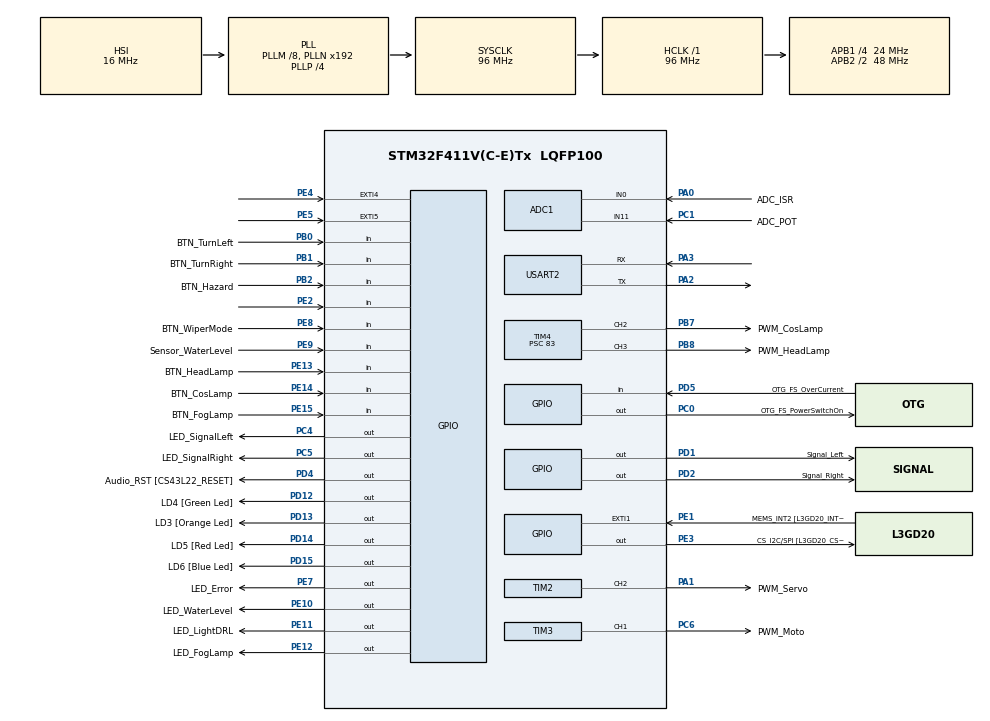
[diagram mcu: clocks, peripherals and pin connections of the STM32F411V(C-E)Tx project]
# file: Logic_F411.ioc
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ADC1.Channel-0\#ChannelRegularConversion=ADC_CHANNEL_0
ADC1.Channel-1\#ChannelRegularConversion=ADC_CHANNEL_11
ADC1.ClockPrescaler=ADC_CLOCK_SYNC_PCLK_DIV2
ADC1.ContinuousConvMode=ENABLE
ADC1.DMAContinuousRequests=ENABLE
ADC1.NbrOfConversion=2
ADC1.NbrOfConversionFlag=1
ADC1.Rank-0\#ChannelRegularConversion=1
ADC1.Rank-1\#ChannelRegularConversion=2
ADC1.SamplingTime-0\#ChannelRegularConversion=ADC_SAMPLETIME_3CYCLES
ADC1.SamplingTime-1\#ChannelRegularConversion=ADC_SAMPLETIME_3CYCLES
ADC1.ScanConvMode=ENABLE
ADC1.master=1
Dma.ADC1.0.Direction=DMA_PERIPH_TO_MEMORY
Dma.ADC1.0.FIFOMode=DMA_FIFOMODE_DISABLE
Dma.ADC1.0.Instance=DMA2_Stream0
Dma.ADC1.0.MemDataAlignment=DMA_MDATAALIGN_HALFWORD
Dma.ADC1.0.MemInc=DMA_MINC_ENABLE
Dma.ADC1.0.Mode=DMA_CIRCULAR
Dma.ADC1.0.PeriphDataAlignment=DMA_PDATAALIGN_HALFWORD
Dma.ADC1.0.PeriphInc=DMA_PINC_DISABLE
Dma.ADC1.0.Priority=DMA_PRIORITY_MEDIUM
Dma.Request0=ADC1
Mcu.Family=STM32F4
Mcu.Name=STM32F411V(C-E)Tx
Mcu.Package=LQFP100
NVIC.DMA2_Stream0_IRQn=true\:0\:0\:false\:false\:true\:false\:true\:true
NVIC.PriorityGroup=NVIC_PRIORITYGROUP_4
PA0-WKUP.GPIO_Label=ADC_ISR
PA0-WKUP.Signal=ADCx_IN0
PA1.GPIO_Label=PWM_Servo
PA1.Signal=S_TIM2_CH2
PA10.GPIO_Label=OTG_FS_ID
PA10.Signal=USB_OTG_FS_ID
PA11.GPIO_Label=OTG_FS_DM
PA11.Signal=USB_OTG_FS_DM
PA12.GPIO_Label=OTG_FS_DP
PA12.Signal=USB_OTG_FS_DP
PA13.GPIO_Label=SWDIO
PA13.Mode=Serial_Wire
PA13.Signal=SYS_JTMS-SWDIO
PA14.GPIO_Label=SWCLK
PA14.Mode=Serial_Wire
PA14.Signal=SYS_JTCK-SWCLK
PA2.Mode=Asynchronous
PA2.Signal=USART2_TX
PA3.Mode=Asynchronous
PA3.Signal=USART2_RX
PA4.GPIO_Label=I2S3_WS [CS43L22_LRCK]
PA4.GPIO_Mode=GPIO_MODE_AF_PP
PA4.GPIO_PuPd=GPIO_NOPULL
PA4.GPIO_Speed=GPIO_SPEED_FREQ_LOW
PA4.Signal=I2S3_WS
PA5.GPIO_Label=SPI1_SCK [L3GD20_SC/SPC]
PA5.Signal=SPI1_SCK
PA6.GPIO_Label=SPI1_MISO [L3GD20_AS0/SDO]
PA6.Signal=SPI1_MISO
PA7.GPIO_Label=SPI1_MOSI [L3GD20_SDA/SDI/SDO]
PA7.Signal=SPI1_MOSI
PA9.GPIO_Label=VBUS_FS
PA9.Signal=USB_OTG_FS_VBUS
PB0.GPIO_Label=BTN_TurnLeft
PB0.GPIO_PuPd=GPIO_PULLUP
PB0.Signal=GPIO_Input
PB1.GPIO_Label=BTN_TurnRight
PB1.GPIO_PuPd=GPIO_PULLUP
PB1.Signal=GPIO_Input
PB10.GPIO_Label=CLK_IN [MP45DT02_CLK]
PB10.Signal=I2S2_CK
PB12.Signal=I2S2_WS
PB2.GPIO_Label=BTN_Hazard
PB2.GPIO_PuPd=GPIO_PULLUP
PB2.Signal=GPIO_Input
PB3.GPIO_Label=SWO
PB3.Signal=SYS_JTDO-SWO
PB6.GPIO_Label=Audio_SCL [CS43L22_SCL]
PB6.GPIO_Mode=GPIO_MODE_AF_OD
PB6.GPIO_PuPd=GPIO_NOPULL
PB6.GPIO_Speed=GPIO_SPEED_FREQ_LOW
PB6.Signal=I2C1_SCL
PB7.GPIO_Label=PWM_CosLamp
PB7.Signal=S_TIM4_CH2
PB8.GPIO_Label=PWM_HeadLamp
PB8.Signal=S_TIM4_CH3
PB9.GPIO_Label=Audio_SDA [CS43L22_SDA]
PB9.GPIO_Mode=GPIO_MODE_AF_OD
PB9.GPIO_PuPd=GPIO_NOPULL
PB9.GPIO_Speed=GPIO_SPEED_FREQ_LOW
PB9.Signal=I2C1_SDA
PC0.GPIO_Label=OTG_FS_PowerSwitchOn
PC0.PinState=GPIO_PIN_SET
PC0.Signal=GPIO_Output
PC1.GPIO_Label=ADC_POT
PC1.Signal=ADCx_IN11
PC10.GPIO_Label=I2S3_SCK [CS43L22_SCLK]
PC10.GPIO_Mode=GPIO_MODE_AF_PP
PC10.GPIO_PuPd=GPIO_NOPULL
PC10.GPIO_Speed=GPIO_SPEED_FREQ_LOW
PC10.Signal=I2S3_CK
PC12.GPIO_Label=I2S3_SD [CS43L22_SDIN]
PC12.GPIO_Mode=GPIO_MODE_AF_PP
PC12.GPIO_PuPd=GPIO_NOPULL
PC12.GPIO_Speed=GPIO_SPEED_FREQ_LOW
PC12.Signal=I2S3_SD
PC14-OSC32_IN.GPIO_Label=PC14-OSC32_IN
PC14-OSC32_IN.Signal=RCC_OSC32_IN
PC15-OSC32_OUT.GPIO_Label=PC15-OSC32_OUT
PC15-OSC32_OUT.Signal=RCC_OSC32_OUT
PC3.GPIO_Label=PDM_OUT [MP45DT02_DOUT]
PC3.Signal=I2S2_SD
PC4.GPIO_Label=LED_SignalLeft
PC4.Signal=GPIO_Output
PC5.GPIO_Label=LED_SignalRight
PC5.Signal=GPIO_Output
PC6.GPIO_Label=PWM_Moto
PC6.Signal=S_TIM3_CH1
PC7.GPIO_Label=I2S3_MCK [CS43L22_MCLK]
PC7.GPIO_Mode=GPIO_MODE_AF_PP
PC7.GPIO_PuPd=GPIO_NOPULL
PC7.GPIO_Speed=GPIO_SPEED_FREQ_LOW
PC7.Signal=I2S3_MCK
PD1.GPIO_Label=Signal_Left
PD1.Signal=GPIO_Output
PD12.GPIO_Label=LD4 [Green Led]
PD12.GPIO_PuPd=GPIO_NOPULL
PD12.GPIO_Speed=GPIO_SPEED_FREQ_LOW
PD12.Signal=GPIO_Output
PD13.GPIO_Label=LD3 [Orange Led]
PD13.GPIO_PuPd=GPIO_NOPULL
PD13.GPIO_Speed=GPIO_SPEED_FREQ_LOW
PD13.Signal=GPIO_Output
PD14.GPIO_Label=LD5 [Red Led]
PD14.GPIO_PuPd=GPIO_NOPULL
PD14.GPIO_Speed=GPIO_SPEED_FREQ_LOW
PD14.Signal=GPIO_Output
PD15.GPIO_Label=LD6 [Blue Led]
PD15.GPIO_PuPd=GPIO_NOPULL
PD15.GPIO_Speed=GPIO_SPEED_FREQ_LOW
PD15.Signal=GPIO_Output
PD2.GPIO_Label=Signal_Right
PD2.Signal=GPIO_Output
PD4.GPIO_Label=Audio_RST [CS43L22_RESET]
PD4.Signal=GPIO_Output
PD5.GPIO_Label=OTG_FS_OverCurrent
PD5.Signal=GPIO_Input
PE1.GPIO_Label=MEMS_INT2 [L3GD20_INT2]
PE1.GPIO_ModeDefaultEXTI=GPIO_MODE_EVT_RISING
PE1.Signal=GPXTI1
PE10.GPIO_Label=LED_WaterLevel
PE10.Signal=GPIO_Output
PE11.GPIO_Label=LED_LightDRL
PE11.Signal=GPIO_Output
PE12.GPIO_Label=LED_FogLamp
PE12.Signal=GPIO_Output
PE13.GPIO_Label=BTN_HeadLamp
PE13.GPIO_PuPd=GPIO_PULLUP
PE13.Signal=GPIO_Input
PE14.GPIO_Label=BTN_CosLamp
PE14.GPIO_PuPd=GPIO_PULLUP
PE14.Signal=GPIO_Input
PE15.GPIO_Label=BTN_FogLamp
PE15.GPIO_PuPd=GPIO_PULLUP
PE15.Signal=GPIO_Input
PE2.Signal=GPIO_Input
PE3.GPIO_Label=CS_I2C/SPI [L3GD20_CS_I2C/SPI]
PE3.Signal=GPIO_Output
PE4.GPIO_ModeDefaultEXTI=GPIO_MODE_EVT_RISING
PE4.Signal=GPXTI4
PE5.GPIO_ModeDefaultEXTI=GPIO_MODE_EVT_RISING
PE5.Signal=GPXTI5
PE7.GPIO_Label=LED_Error
PE7.Signal=GPIO_Output
PE8.GPIO_Label=BTN_WiperMode
PE8.GPIO_PuPd=GPIO_PULLUP
PE8.Signal=GPIO_Input
PE9.GPIO_Label=Sensor_WaterLevel
PE9.Signal=GPIO_Input
PH0\ -\ OSC_IN.GPIO_Label=PH0-OSC_IN
PH0\ -\ OSC_IN.Mode=HSE-External-Oscillator
PH0\ -\ OSC_IN.Signal=RCC_OSC_IN
PH1\ -\ OSC_OUT.GPIO_Label=PH1-OSC_OUT
PH1\ -\ OSC_OUT.Mode=HSE-External-Oscillator
PH1\ -\ OSC_OUT.Signal=RCC_OSC_OUT
ProjectManager.HeapSize=0x200
ProjectManager.StackSize=0x400
ProjectManager.TargetToolchain=STM32CubeIDE
RCC.48MHZClocksFreq_Value=48000000
RCC.AHBFreq_Value=96000000
RCC.APB1CLKDivider=RCC_HCLK_DIV4
RCC.APB1Freq_Value=24000000
RCC.APB1TimFreq_Value=48000000
RCC.APB2CLKDivider=RCC_HCLK_DIV2
RCC.APB2Freq_Value=48000000
RCC.APB2TimFreq_Value=96000000
RCC.CortexFreq_Value=96000000
RCC.HCLKFreq_Value=96000000
RCC.HSE_VALUE=8000000
RCC.HSI_VALUE=16000000
RCC.LSE_VALUE=32768
RCC.PLLI2SM=5
RCC.PLLI2SN=200
RCC.PLLM=8
RCC.PLLP=RCC_PLLP_DIV4
RCC.PLLQ=8
RCC.SYSCLKFreq_VALUE=96000000
RCC.SYSCLKSource=RCC_SYSCLKSOURCE_PLLCLK
RCC.VCOOutputFreq_Value=384000000
SH.ADCx_IN0.0=ADC1_IN0,IN0
SH.ADCx_IN11.0=ADC1_IN11,IN11
SH.S_TIM2_CH2.0=TIM2_CH2,PWM Generation2 CH2
SH.S_TIM3_CH1.0=TIM3_CH1,PWM Generation1 CH1
SH.S_TIM4_CH2.0=TIM4_CH2,PWM Generation2 CH2
SH.S_TIM4_CH3.0=TIM4_CH3,PWM Generation3 CH3
TIM2.Channel-PWM\ Generation2\ CH2=TIM_CHANNEL_2
TIM2.Period=19999
TIM2.Prescaler=47
TIM3.Channel-PWM\ Generation1\ CH1=TIM_CHANNEL_1
TIM3.Period=999
TIM3.Prescaler=83
TIM4.Channel-PWM\ Generation2\ CH2=TIM_CHANNEL_2
TIM4.Channel-PWM\ Generation3\ CH3=TIM_CHANNEL_3
TIM4.Period=999
TIM4.Prescaler=83
USART2.VirtualMode=VM_ASYNC
VP_TIM2_VS_ClockSourceINT.Mode=Internal
VP_TIM3_VS_ClockSourceINT.Mode=Internal
board=STM32F411E-DISCO

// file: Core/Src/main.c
/* USER CODE BEGIN Header */
/**
  ******************************************************************************
  * @file           : main.c
  * @brief          : Main program body
  ******************************************************************************
  * @attention
  *
  * Copyright (c) 2026 STMicroelectronics.
  * All rights reserved.
  *
  * This software is licensed under terms that can be found in the LICENSE file
  * in the root directory of this software component.
  * If no LICENSE file comes with this software, it is provided AS-IS.
  *
  ******************************************************************************
  */
/* USER CODE END Header */
#include "main.h"

/* USER CODE BEGIN Includes */
#include "main.h"
#include "turnsignal.h"
#include "wiper.h"
#include "headlight.h"
#include "can_messages.h"
#include "TX_data_UART.h"
#include "RX_data_UART.h"
/* USER CODE END Includes */

ADC_HandleTypeDef hadc1;
DMA_HandleTypeDef hdma_adc1;

TIM_HandleTypeDef htim2;
TIM_HandleTypeDef htim3;
TIM_HandleTypeDef htim4;

UART_HandleTypeDef huart2;

/* USER CODE BEGIN PV */
volatile uint32_t leftHoldTime = 0, rightHoldTime = 0, wiperHoldTime = 0, hazardHoldTime = 0;
volatile uint8_t leftHolding = 0, rightHolding = 0, wiperHolding = 0, hazardHolding = 0;
volatile uint8_t leftSent = 0, rightSent = 0, wiperSent = 0, hazardSent = 0;

volatile uint32_t headHoldTime = 0, cosHoldTime = 0, fogHoldTime = 0;
volatile uint8_t headHolding = 0, cosHolding = 0, fogHolding = 0;
volatile uint8_t headSent = 0, cosSent = 0, fogSent = 0;

volatile uint8_t err_counter = 0;
uint16_t adc_dma_buffer[2]; // [0]: Cảm biến mưa (PA0), [1]: Dimmer đèn (PC1)

/* USER CODE END PV */

void SystemClock_Config(void);
static void MX_GPIO_Init(void);
static void MX_DMA_Init(void);
static void MX_TIM2_Init(void);
static void MX_ADC1_Init(void);
static void MX_USART2_UART_Init(void);
static void MX_TIM3_Init(void);
static void MX_TIM4_Init(void);
/* USER CODE BEGIN PFP */
extern void Bridge_SendError(uint8_t errorCode, uint8_t errorMask);

/* USER CODE END PFP */

int main(void)
{

  /* MCU Configuration--------------------------------------------------------*/

  /* Reset of all peripherals, Initializes the Flash interface and the Systick. */
  HAL_Init();

  /* Configure the system clock */
  SystemClock_Config();

  /* Initialize all configured peripherals */
  MX_GPIO_Init();
  MX_DMA_Init();
  MX_TIM2_Init();
  MX_ADC1_Init();
  MX_USART2_UART_Init();
  MX_TIM3_Init();
  MX_TIM4_Init();
  /* USER CODE BEGIN 2 */
    HAL_ADC_Start_DMA(&hadc1, (uint32_t*)adc_dma_buffer, 2);
  TurnSignal_Init();
  Bridge_Init(&huart2);
  Wiper_System_Init();
  Headlight_Init(&htim4, &hadc1);
  /* USER CODE END 2 */

  /* Infinite loop */
  while (1)
    {

    /* USER CODE BEGIN 3 */
	  // 1. Quét lỗi phím bấm giả lập DTC (> 1.5s)
	          if (HAL_GPIO_ReadPin(GPIOB, BTN_TurnLeft_Pin) == GPIO_PIN_RESET) {
	              if (!leftHolding) {
	                  leftHoldTime = HAL_GetTick();
	                  leftHolding = 1;
	                  leftSent = 0;
	              } else if (!leftSent && (HAL_GetTick() - leftHoldTime) >= 1500) {
	                  err_counter++;
	                  Bridge_SendFault(DTC_SEVERITY_ERROR, DTC_B1030, err_counter, ERR_ACTUATOR_STALL);
	                  HAL_GPIO_WritePin(LED_Error_GPIO_Port, LED_Error_Pin, GPIO_PIN_SET); // Bật LED báo lỗi
	                  leftSent = 1;
	              }
	          } else {
	              leftHolding = 0;
	              leftSent = 0;
	          }

	          if (HAL_GPIO_ReadPin(GPIOB, BTN_TurnRight_Pin) == GPIO_PIN_RESET) {
	              if (!rightHolding) {
	                  rightHoldTime = HAL_GetTick();
	                  rightHolding = 1;
	                  rightSent = 0;
	              } else if (!rightSent && (HAL_GetTick() - rightHoldTime) >= 1500) {
	                  err_counter++;
	                  Bridge_SendFault(DTC_SEVERITY_ERROR, DTC_B1031, err_counter, ERR_ACTUATOR_STALL);
	                  HAL_GPIO_WritePin(LED_Error_GPIO_Port, LED_Error_Pin, GPIO_PIN_SET); // Bật LED báo lỗi
	                  rightSent = 1;
	              }
	          } else {
	              rightHolding = 0;
	              rightSent = 0;
	          }

	          if (HAL_GPIO_ReadPin(GPIOE, BTN_WiperMode_Pin) == GPIO_PIN_RESET) {
	              if (!wiperHolding) {
	                  wiperHoldTime = HAL_GetTick();
	                  wiperHolding = 1;
	                  wiperSent = 0;
	              } else if (!wiperSent && (HAL_GetTick() - wiperHoldTime) >= 1500) {
	                  err_counter++;
	                  Bridge_SendFault(DTC_SEVERITY_ERROR, DTC_B1010, err_counter, ERR_WIPER_STALL);
	                  HAL_GPIO_WritePin(LED_Error_GPIO_Port, LED_Error_Pin, GPIO_PIN_SET); // Bật LED báo lỗi
	                  wiperSent = 1;
	              }
	          } else {
	              wiperHolding = 0;
	              wiperSent = 0;
	          }

#if 0
	          if (HAL_GPIO_ReadPin(GPIOB, BTN_Hazard_Pin) == GPIO_PIN_RESET) {
	              if (!hazardHolding) {
	                  hazardHoldTime = HAL_GetTick();
	                  hazardHolding = 1;
	                  hazardSent = 0;
	              } else if (!hazardSent && (HAL_GetTick() - hazardHoldTime) >= 1500) {
	                  err_counter++;
	                  Bridge_SendFault(DTC_SEVERITY_ERROR, DTC_B1030, err_counter, ERR_ACTUATOR_STALL);
	                  HAL_GPIO_WritePin(LED_Error_GPIO_Port, LED_Error_Pin, GPIO_PIN_SET); // Bật LED báo lỗi
	                  hazardSent = 1;
	              }
	          } else {
	              hazardHolding = 0;
	              hazardSent = 0;
	          }
#endif

	          // Quét lỗi kẹt phím Đèn Chiếu Gần (Cos / Low Beam) > 1.5s -> DTC B1001
	          if (HAL_GPIO_ReadPin(GPIOE, BTN_CosLamp_Pin) == GPIO_PIN_RESET) {
	              if (!cosHolding) {
	                  cosHoldTime = HAL_GetTick();
	                  cosHolding = 1;
	                  cosSent = 0;
	              } else if (!cosSent && (HAL_GetTick() - cosHoldTime) >= 1500) {
	                  err_counter++;
	                  Bridge_SendFault(DTC_SEVERITY_ERROR, DTC_B1001, err_counter, ERR_ACTUATOR_STALL);
	                  HAL_GPIO_WritePin(LED_Error_GPIO_Port, LED_Error_Pin, GPIO_PIN_SET);
	                  cosSent = 1;
	              }
	          } else {
	              cosHolding = 0;
	              cosSent = 0;
	          }

	          // Quét lỗi kẹt phím Đèn Chiếu Xa (Pha / High Beam) > 1.5s -> DTC B1002
	          if (HAL_GPIO_ReadPin(GPIOE, BTN_HeadLamp_Pin) == GPIO_PIN_RESET) {
	              if (!headHolding) {
	                  headHoldTime = HAL_GetTick();
	                  headHolding = 1;
	                  headSent = 0;
	              } else if (!headSent && (HAL_GetTick() - headHoldTime) >= 1500) {
	                  err_counter++;
	                  Bridge_SendFault(DTC_SEVERITY_ERROR, DTC_B1002, err_counter, ERR_ACTUATOR_STALL);
	                  HAL_GPIO_WritePin(LED_Error_GPIO_Port, LED_Error_Pin, GPIO_PIN_SET);
	                  headSent = 1;
	              }
	          } else {
	              headHolding = 0;
	              headSent = 0;
	          }

	          // Quét lỗi kẹt phím Đèn Sương Mù (Fog Lamp) > 1.5s -> DTC B1004
	          if (HAL_GPIO_ReadPin(GPIOE, BTN_FogLamp_Pin) == GPIO_PIN_RESET) {
	              if (!fogHolding) {
	                  fogHoldTime = HAL_GetTick();
	                  fogHolding = 1;
	                  fogSent = 0;
	              } else if (!fogSent && (HAL_GetTick() - fogHoldTime) >= 1500) {
	                  err_counter++;
	                  Bridge_SendFault(DTC_SEVERITY_ERROR, DTC_B1004, err_counter, ERR_ACTUATOR_STALL);
	                  HAL_GPIO_WritePin(LED_Error_GPIO_Port, LED_Error_Pin, GPIO_PIN_SET);
	                  fogSent = 1;
	              }
	          } else {
	              fogHolding = 0;
	              fogSent = 0;
	          }

        // 2. Chấp hành các tác vụ phần cứng
        Wiper_Task();
        TurnSignal_Task();
        Headlight_Task();
        Front_BCM_Periodic_TX_Task();

    }
  /* USER CODE END 3 */
}

void SystemClock_Config(void)
{
  RCC_OscInitTypeDef RCC_OscInitStruct = {0};
  RCC_ClkInitTypeDef RCC_ClkInitStruct = {0};

  /** Configure the main internal regulator output voltage
  */
  __HAL_RCC_PWR_CLK_ENABLE();
  __HAL_PWR_VOLTAGESCALING_CONFIG(PWR_REGULATOR_VOLTAGE_SCALE1);

  /** Initializes the RCC Oscillators according to the specified parameters
  * in the RCC_OscInitTypeDef structure.
  */
  RCC_OscInitStruct.OscillatorType = RCC_OSCILLATORTYPE_HSI;
  RCC_OscInitStruct.HSIState = RCC_HSI_ON;
  RCC_OscInitStruct.HSICalibrationValue = RCC_HSICALIBRATION_DEFAULT;
  RCC_OscInitStruct.PLL.PLLState = RCC_PLL_ON;
  RCC_OscInitStruct.PLL.PLLSource = RCC_PLLSOURCE_HSI;
  RCC_OscInitStruct.PLL.PLLM = 8;
  RCC_OscInitStruct.PLL.PLLN = 192;
  RCC_OscInitStruct.PLL.PLLP = RCC_PLLP_DIV4;
  RCC_OscInitStruct.PLL.PLLQ = 8;
  if (HAL_RCC_OscConfig(&RCC_OscInitStruct) != HAL_OK)
  {
    Error_Handler();
  }

  /** Initializes the CPU, AHB and APB buses clocks
  */
  RCC_ClkInitStruct.ClockType = RCC_CLOCKTYPE_HCLK|RCC_CLOCKTYPE_SYSCLK
                              |RCC_CLOCKTYPE_PCLK1|RCC_CLOCKTYPE_PCLK2;
  RCC_ClkInitStruct.SYSCLKSource = RCC_SYSCLKSOURCE_PLLCLK;
  RCC_ClkInitStruct.AHBCLKDivider = RCC_SYSCLK_DIV1;
  RCC_ClkInitStruct.APB1CLKDivider = RCC_HCLK_DIV4;
  RCC_ClkInitStruct.APB2CLKDivider = RCC_HCLK_DIV2;

  if (HAL_RCC_ClockConfig(&RCC_ClkInitStruct, FLASH_LATENCY_3) != HAL_OK)
  {
    Error_Handler();
  }
}

static void MX_ADC1_Init(void)
{

  ADC_ChannelConfTypeDef sConfig = {0};

  /** Configure the global features of the ADC (Clock, Resolution, Data Alignment and number of conversion)
  */
  hadc1.Instance = ADC1;
  hadc1.Init.ClockPrescaler = ADC_CLOCK_SYNC_PCLK_DIV2;
  hadc1.Init.Resolution = ADC_RESOLUTION_12B;
  hadc1.Init.ScanConvMode = ENABLE;
  hadc1.Init.ContinuousConvMode = DISABLE; // FIXED: Prevent DDoS
  hadc1.Init.DiscontinuousConvMode = DISABLE;
  hadc1.Init.ExternalTrigConvEdge = ADC_EXTERNALTRIGCONVEDGE_NONE;
  hadc1.Init.ExternalTrigConv = ADC_SOFTWARE_START;
  hadc1.Init.DataAlign = ADC_DATAALIGN_RIGHT;
  hadc1.Init.NbrOfConversion = 2;
  hadc1.Init.DMAContinuousRequests = ENABLE;
  hadc1.Init.EOCSelection = ADC_EOC_SINGLE_CONV;
  if (HAL_ADC_Init(&hadc1) != HAL_OK)
  {
    Error_Handler();
  }

  /** Configure for the selected ADC regular channel its corresponding rank in the sequencer and its sample time.
  */
  sConfig.Channel = ADC_CHANNEL_0;
  sConfig.Rank = 1;
  sConfig.SamplingTime = ADC_SAMPLETIME_3CYCLES;
  if (HAL_ADC_ConfigChannel(&hadc1, &sConfig) != HAL_OK)
  {
    Error_Handler();
  }

  /** Configure for the selected ADC regular channel its corresponding rank in the sequencer and its sample time.
  */
  sConfig.Channel = ADC_CHANNEL_11;
  sConfig.Rank = 2;
  if (HAL_ADC_ConfigChannel(&hadc1, &sConfig) != HAL_OK)
  {
    Error_Handler();
  }

}

static void MX_TIM2_Init(void)
{

  TIM_ClockConfigTypeDef sClockSourceConfig = {0};
  TIM_MasterConfigTypeDef sMasterConfig = {0};
  TIM_OC_InitTypeDef sConfigOC = {0};

  htim2.Instance = TIM2;
  htim2.Init.Prescaler = 47;
  htim2.Init.CounterMode = TIM_COUNTERMODE_UP;
  htim2.Init.Period = 19999;
  htim2.Init.ClockDivision = TIM_CLOCKDIVISION_DIV1;
  htim2.Init.AutoReloadPreload = TIM_AUTORELOAD_PRELOAD_DISABLE;
  if (HAL_TIM_Base_Init(&htim2) != HAL_OK)
  {
    Error_Handler();
  }
  sClockSourceConfig.ClockSource = TIM_CLOCKSOURCE_INTERNAL;
  if (HAL_TIM_ConfigClockSource(&htim2, &sClockSourceConfig) != HAL_OK)
  {
    Error_Handler();
  }
  if (HAL_TIM_PWM_Init(&htim2) != HAL_OK)
  {
    Error_Handler();
  }
  sMasterConfig.MasterOutputTrigger = TIM_TRGO_RESET;
  sMasterConfig.MasterSlaveMode = TIM_MASTERSLAVEMODE_DISABLE;
  if (HAL_TIMEx_MasterConfigSynchronization(&htim2, &sMasterConfig) != HAL_OK)
  {
    Error_Handler();
  }
  sConfigOC.OCMode = TIM_OCMODE_PWM1;
  sConfigOC.Pulse = 0;
  sConfigOC.OCPolarity = TIM_OCPOLARITY_HIGH;
  sConfigOC.OCFastMode = TIM_OCFAST_DISABLE;
  if (HAL_TIM_PWM_ConfigChannel(&htim2, &sConfigOC, TIM_CHANNEL_2) != HAL_OK)
  {
    Error_Handler();
  }
  HAL_TIM_MspPostInit(&htim2);

}

static void MX_TIM3_Init(void)
{

  TIM_ClockConfigTypeDef sClockSourceConfig = {0};
  TIM_MasterConfigTypeDef sMasterConfig = {0};
  TIM_OC_InitTypeDef sConfigOC = {0};

  htim3.Instance = TIM3;
  htim3.Init.Prescaler = 83;
  htim3.Init.CounterMode = TIM_COUNTERMODE_UP;
  htim3.Init.Period = 999;
  htim3.Init.ClockDivision = TIM_CLOCKDIVISION_DIV1;
  htim3.Init.AutoReloadPreload = TIM_AUTORELOAD_PRELOAD_DISABLE;
  if (HAL_TIM_Base_Init(&htim3) != HAL_OK)
  {
    Error_Handler();
  }
  sClockSourceConfig.ClockSource = TIM_CLOCKSOURCE_INTERNAL;
  if (HAL_TIM_ConfigClockSource(&htim3, &sClockSourceConfig) != HAL_OK)
  {
    Error_Handler();
  }
  if (HAL_TIM_PWM_Init(&htim3) != HAL_OK)
  {
    Error_Handler();
  }
  sMasterConfig.MasterOutputTrigger = TIM_TRGO_RESET;
  sMasterConfig.MasterSlaveMode = TIM_MASTERSLAVEMODE_DISABLE;
  if (HAL_TIMEx_MasterConfigSynchronization(&htim3, &sMasterConfig) != HAL_OK)
  {
    Error_Handler();
  }
  sConfigOC.OCMode = TIM_OCMODE_PWM1;
  sConfigOC.Pulse = 0;
  sConfigOC.OCPolarity = TIM_OCPOLARITY_HIGH;
  sConfigOC.OCFastMode = TIM_OCFAST_DISABLE;
  if (HAL_TIM_PWM_ConfigChannel(&htim3, &sConfigOC, TIM_CHANNEL_1) != HAL_OK)
  {
    Error_Handler();
  }
  HAL_TIM_MspPostInit(&htim3);

}

static void MX_TIM4_Init(void)
{

  TIM_MasterConfigTypeDef sMasterConfig = {0};
  TIM_OC_InitTypeDef sConfigOC = {0};

  htim4.Instance = TIM4;
  htim4.Init.Prescaler = 83;
  htim4.Init.CounterMode = TIM_COUNTERMODE_UP;
  htim4.Init.Period = 999;
  htim4.Init.ClockDivision = TIM_CLOCKDIVISION_DIV1;
  htim4.Init.AutoReloadPreload = TIM_AUTORELOAD_PRELOAD_DISABLE;
  if (HAL_TIM_PWM_Init(&htim4) != HAL_OK)
  {
    Error_Handler();
  }
  sMasterConfig.MasterOutputTrigger = TIM_TRGO_RESET;
  sMasterConfig.MasterSlaveMode = TIM_MASTERSLAVEMODE_DISABLE;
  if (HAL_TIMEx_MasterConfigSynchronization(&htim4, &sMasterConfig) != HAL_OK)
  {
    Error_Handler();
  }
  sConfigOC.OCMode = TIM_OCMODE_PWM1;
  sConfigOC.Pulse = 0;
  sConfigOC.OCPolarity = TIM_OCPOLARITY_HIGH;
  sConfigOC.OCFastMode = TIM_OCFAST_DISABLE;
  if (HAL_TIM_PWM_ConfigChannel(&htim4, &sConfigOC, TIM_CHANNEL_2) != HAL_OK)
  {
    Error_Handler();
  }
  if (HAL_TIM_PWM_ConfigChannel(&htim4, &sConfigOC, TIM_CHANNEL_3) != HAL_OK)
  {
    Error_Handler();
  }
  HAL_TIM_MspPostInit(&htim4);

}

static void MX_USART2_UART_Init(void)
{

  huart2.Instance = USART2;
  huart2.Init.BaudRate = 115200;
  huart2.Init.WordLength = UART_WORDLENGTH_8B;
  huart2.Init.StopBits = UART_STOPBITS_1;
  huart2.Init.Parity = UART_PARITY_NONE;
  huart2.Init.Mode = UART_MODE_TX_RX;
  huart2.Init.HwFlowCtl = UART_HWCONTROL_NONE;
  huart2.Init.OverSampling = UART_OVERSAMPLING_16;
  if (HAL_UART_Init(&huart2) != HAL_OK)
  {
    Error_Handler();
  }

}

static void MX_DMA_Init(void)
{

  /* DMA controller clock enable */
  __HAL_RCC_DMA2_CLK_ENABLE();

  /* DMA interrupt init */
  /* DMA2_Stream0_IRQn interrupt configuration */
  HAL_NVIC_SetPriority(DMA2_Stream0_IRQn, 0, 0);
  HAL_NVIC_EnableIRQ(DMA2_Stream0_IRQn);

}

static void MX_GPIO_Init(void)
{
  GPIO_InitTypeDef GPIO_InitStruct = {0};

  /* GPIO Ports Clock Enable */
  __HAL_RCC_GPIOE_CLK_ENABLE();
  __HAL_RCC_GPIOC_CLK_ENABLE();
  __HAL_RCC_GPIOH_CLK_ENABLE();
  __HAL_RCC_GPIOA_CLK_ENABLE();
  __HAL_RCC_GPIOB_CLK_ENABLE();
  __HAL_RCC_GPIOD_CLK_ENABLE();

  /*Configure GPIO pin Output Level */
  HAL_GPIO_WritePin(GPIOE, CS_I2C_SPI_Pin|LED_Error_Pin|LED_WaterLevel_Pin|LED_LightDRL_Pin
                          |LED_FogLamp_Pin, GPIO_PIN_RESET);

  /*Configure GPIO pin Output Level */
  HAL_GPIO_WritePin(OTG_FS_PowerSwitchOn_GPIO_Port, OTG_FS_PowerSwitchOn_Pin, GPIO_PIN_SET);

  /*Configure GPIO pin Output Level */
  HAL_GPIO_WritePin(GPIOC, LED_SignalLeft_Pin|LED_SignalRight_Pin, GPIO_PIN_RESET);

  /*Configure GPIO pin Output Level */
  HAL_GPIO_WritePin(GPIOD, LD4_Pin|LD3_Pin|LD5_Pin|LD6_Pin
                          |Signal_Left_Pin|Signal_Right_Pin|Audio_RST_Pin, GPIO_PIN_RESET);

  /*Configure GPIO pins : PE2 Sensor_WaterLevel_Pin */
  GPIO_InitStruct.Pin = GPIO_PIN_2|Sensor_WaterLevel_Pin;
  GPIO_InitStruct.Mode = GPIO_MODE_INPUT;
  GPIO_InitStruct.Pull = GPIO_PULLUP;
  HAL_GPIO_Init(GPIOE, &GPIO_InitStruct);

  /*Configure GPIO pins : CS_I2C_SPI_Pin LED_Error_Pin LED_WaterLevel_Pin LED_LightDRL_Pin
                           LED_FogLamp_Pin */
  GPIO_InitStruct.Pin = CS_I2C_SPI_Pin|LED_Error_Pin|LED_WaterLevel_Pin|LED_LightDRL_Pin
                          |LED_FogLamp_Pin;
  GPIO_InitStruct.Mode = GPIO_MODE_OUTPUT_PP;
  GPIO_InitStruct.Pull = GPIO_NOPULL;
  GPIO_InitStruct.Speed = GPIO_SPEED_FREQ_LOW;
  HAL_GPIO_Init(GPIOE, &GPIO_InitStruct);

  /*Configure GPIO pins : PE4 PE5 MEMS_INT2_Pin */
  GPIO_InitStruct.Pin = GPIO_PIN_4|GPIO_PIN_5|MEMS_INT2_Pin;
  GPIO_InitStruct.Mode = GPIO_MODE_EVT_RISING;
  GPIO_InitStruct.Pull = GPIO_NOPULL;
  HAL_GPIO_Init(GPIOE, &GPIO_InitStruct);

  /*Configure GPIO pins : OTG_FS_PowerSwitchOn_Pin LED_SignalLeft_Pin LED_SignalRight_Pin */
  GPIO_InitStruct.Pin = OTG_FS_PowerSwitchOn_Pin|LED_SignalLeft_Pin|LED_SignalRight_Pin;
  GPIO_InitStruct.Mode = GPIO_MODE_OUTPUT_PP;
  GPIO_InitStruct.Pull = GPIO_NOPULL;
  GPIO_InitStruct.Speed = GPIO_SPEED_FREQ_LOW;
  HAL_GPIO_Init(GPIOC, &GPIO_InitStruct);

  /*Configure GPIO pin : PDM_OUT_Pin */
  GPIO_InitStruct.Pin = PDM_OUT_Pin;
  GPIO_InitStruct.Mode = GPIO_MODE_AF_PP;
  GPIO_InitStruct.Pull = GPIO_NOPULL;
  GPIO_InitStruct.Speed = GPIO_SPEED_FREQ_LOW;
  GPIO_InitStruct.Alternate = GPIO_AF5_SPI2;
  HAL_GPIO_Init(PDM_OUT_GPIO_Port, &GPIO_InitStruct);

  /*Configure GPIO pin : I2S3_WS_Pin */
  GPIO_InitStruct.Pin = I2S3_WS_Pin;
  GPIO_InitStruct.Mode = GPIO_MODE_AF_PP;
  GPIO_InitStruct.Pull = GPIO_NOPULL;
  GPIO_InitStruct.Speed = GPIO_SPEED_FREQ_LOW;
  GPIO_InitStruct.Alternate = GPIO_AF6_SPI3;
  HAL_GPIO_Init(I2S3_WS_GPIO_Port, &GPIO_InitStruct);

  /*Configure GPIO pins : SPI1_SCK_Pin SPI1_MISO_Pin SPI1_MOSI_Pin */
  GPIO_InitStruct.Pin = SPI1_SCK_Pin|SPI1_MISO_Pin|SPI1_MOSI_Pin;
  GPIO_InitStruct.Mode = GPIO_MODE_AF_PP;
  GPIO_InitStruct.Pull = GPIO_NOPULL;
  GPIO_InitStruct.Speed = GPIO_SPEED_FREQ_VERY_HIGH;
  GPIO_InitStruct.Alternate = GPIO_AF5_SPI1;
  HAL_GPIO_Init(GPIOA, &GPIO_InitStruct);

  /*Configure GPIO pins : BTN_TurnLeft_Pin BTN_TurnRight_Pin BTN_Hazard_Pin */
  GPIO_InitStruct.Pin = BTN_TurnLeft_Pin|BTN_TurnRight_Pin|BTN_Hazard_Pin;
  GPIO_InitStruct.Mode = GPIO_MODE_INPUT;
  GPIO_InitStruct.Pull = GPIO_PULLUP;
  HAL_GPIO_Init(GPIOB, &GPIO_InitStruct);

  /*Configure GPIO pins : BTN_WiperMode_Pin BTN_HeadLamp_Pin BTN_CosLamp_Pin BTN_FogLamp_Pin */
  GPIO_InitStruct.Pin = BTN_WiperMode_Pin|BTN_HeadLamp_Pin|BTN_CosLamp_Pin|BTN_FogLamp_Pin;
  GPIO_InitStruct.Mode = GPIO_MODE_INPUT;
  GPIO_InitStruct.Pull = GPIO_PULLUP;
  HAL_GPIO_Init(GPIOE, &GPIO_InitStruct);

  /*Configure GPIO pins : CLK_IN_Pin PB12 */
  GPIO_InitStruct.Pin = CLK_IN_Pin|GPIO_PIN_12;
  GPIO_InitStruct.Mode = GPIO_MODE_AF_PP;
  GPIO_InitStruct.Pull = GPIO_NOPULL;
  GPIO_InitStruct.Speed = GPIO_SPEED_FREQ_LOW;
  GPIO_InitStruct.Alternate = GPIO_AF5_SPI2;
  HAL_GPIO_Init(GPIOB, &GPIO_InitStruct);

  /*Configure GPIO pins : LD4_Pin LD3_Pin LD5_Pin LD6_Pin
                           Signal_Left_Pin Signal_Right_Pin Audio_RST_Pin */
  GPIO_InitStruct.Pin = LD4_Pin|LD3_Pin|LD5_Pin|LD6_Pin
                          |Signal_Left_Pin|Signal_Right_Pin|Audio_RST_Pin;
  GPIO_InitStruct.Mode = GPIO_MODE_OUTPUT_PP;
  GPIO_InitStruct.Pull = GPIO_NOPULL;
  GPIO_InitStruct.Speed = GPIO_SPEED_FREQ_LOW;
  HAL_GPIO_Init(GPIOD, &GPIO_InitStruct);

  /*Configure GPIO pins : I2S3_MCK_Pin I2S3_SCK_Pin I2S3_SD_Pin */
  GPIO_InitStruct.Pin = I2S3_MCK_Pin|I2S3_SCK_Pin|I2S3_SD_Pin;
  GPIO_InitStruct.Mode = GPIO_MODE_AF_PP;
  GPIO_InitStruct.Pull = GPIO_NOPULL;
  GPIO_InitStruct.Speed = GPIO_SPEED_FREQ_LOW;
  GPIO_InitStruct.Alternate = GPIO_AF6_SPI3;
  HAL_GPIO_Init(GPIOC, &GPIO_InitStruct);

  /*Configure GPIO pin : VBUS_FS_Pin */
  GPIO_InitStruct.Pin = VBUS_FS_Pin;
  GPIO_InitStruct.Mode = GPIO_MODE_INPUT;
  GPIO_InitStruct.Pull = GPIO_NOPULL;
  HAL_GPIO_Init(VBUS_FS_GPIO_Port, &GPIO_InitStruct);

  /*Configure GPIO pins : OTG_FS_ID_Pin OTG_FS_DM_Pin OTG_FS_DP_Pin */
  GPIO_InitStruct.Pin = OTG_FS_ID_Pin|OTG_FS_DM_Pin|OTG_FS_DP_Pin;
  GPIO_InitStruct.Mode = GPIO_MODE_AF_PP;
  GPIO_InitStruct.Pull = GPIO_NOPULL;
  GPIO_InitStruct.Speed = GPIO_SPEED_FREQ_VERY_HIGH;
  GPIO_InitStruct.Alternate = GPIO_AF10_OTG_FS;
  HAL_GPIO_Init(GPIOA, &GPIO_InitStruct);

  /*Configure GPIO pin : OTG_FS_OverCurrent_Pin */
  GPIO_InitStruct.Pin = OTG_FS_OverCurrent_Pin;
  GPIO_InitStruct.Mode = GPIO_MODE_INPUT;
  GPIO_InitStruct.Pull = GPIO_NOPULL;
  HAL_GPIO_Init(OTG_FS_OverCurrent_GPIO_Port, &GPIO_InitStruct);

  /*Configure GPIO pins : Audio_SCL_Pin Audio_SDA_Pin */
  GPIO_InitStruct.Pin = Audio_SCL_Pin|Audio_SDA_Pin;
  GPIO_InitStruct.Mode = GPIO_MODE_AF_OD;
  GPIO_InitStruct.Pull = GPIO_NOPULL;
  GPIO_InitStruct.Speed = GPIO_SPEED_FREQ_LOW;
  GPIO_InitStruct.Alternate = GPIO_AF4_I2C1;
  HAL_GPIO_Init(GPIOB, &GPIO_InitStruct);

}

void Error_Handler(void)
{
  __disable_irq();
  while (1)
  {
  }
}
